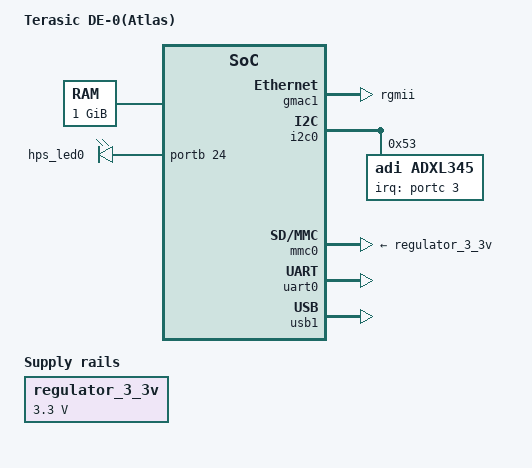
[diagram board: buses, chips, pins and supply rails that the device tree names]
/*
 * Copyright Altera Corporation (C) 2015. All rights reserved.
 *
 * This program is free software; you can redistribute it and/or modify
 * it under the terms and conditions of the GNU General Public License,
 * version 2, as published by the Free Software Foundation.
 *
 * This program is distributed in the hope it will be useful, but WITHOUT
 * ANY WARRANTY; without even the implied warranty of MERCHANTABILITY or
 * FITNESS FOR A PARTICULAR PURPOSE.  See the GNU General Public License for
 * more details.
 *
 * You should have received a copy of the GNU General Public License along with
 * this program.  If not, see <http://www.gnu.org/licenses/>.
 */

#include "socfpga_cyclone5.dtsi"

/ {
	model = "Terasic DE-0(Atlas)";
	compatible = "altr,socfpga-cyclone5", "altr,socfpga";

	chosen {
		bootargs = "earlyprintk";
		stdout-path = "serial0:115200n8";
	};

	memory {
		name = "memory";
		device_type = "memory";
		reg = <0x0 0x40000000>; /* 1GB */
	};

	aliases {
		ethernet0 = &gmac1;
	};

	regulator_3_3v: 3-3-v-regulator {
		compatible = "regulator-fixed";
		regulator-name = "3.3V";
		regulator-min-microvolt = <3300000>;
		regulator-max-microvolt = <3300000>;
	};

	leds {
		compatible = "gpio-leds";
		hps0 {
			label = "hps_led0";
			gpios = <&portb 24 0>;
			linux,default-trigger = "heartbeat";
		};
	};
};

&gmac1 {
	status = "okay";
	phy-mode = "rgmii";

	txd0-skew-ps = <0>; /* -420ps */
	txd1-skew-ps = <0>; /* -420ps */
	txd2-skew-ps = <0>; /* -420ps */
	txd3-skew-ps = <0>; /* -420ps */
	rxd0-skew-ps = <420>; /* 0ps */
	rxd1-skew-ps = <420>; /* 0ps */
	rxd2-skew-ps = <420>; /* 0ps */
	rxd3-skew-ps = <420>; /* 0ps */
	txen-skew-ps = <0>; /* -420ps */
	txc-skew-ps = <1860>; /* 960ps */
	rxdv-skew-ps = <420>; /* 0ps */
	rxc-skew-ps = <1680>; /* 780ps */

	max-frame-size = <3800>;
};

&gpio0 {
	status = "okay";
};

&gpio1 {
	status = "okay";
};

&gpio2 {
	status = "okay";
};

&i2c0 {
	status = "okay";
	speed-mode = <0>;

	adxl345: adxl345@0 {
		compatible = "adi,adxl345";
		reg = <0x53>;

		interrupt-parent = <&portc>;
		interrupts = <3 2>;
	};
};

&mmc0 {
	vmmc-supply = <&regulator_3_3v>;
	vqmmc-supply = <&regulator_3_3v>;
};

&uart0 {
	status = "okay";
};

&usb1 {
	status = "okay";
};
